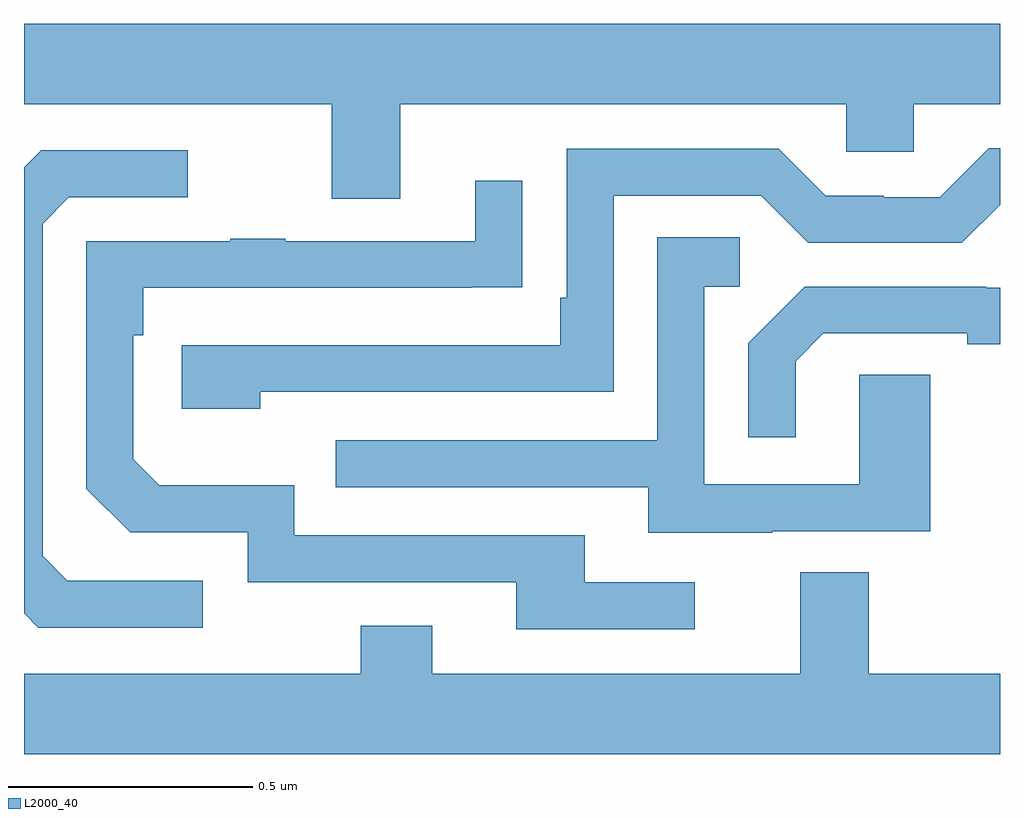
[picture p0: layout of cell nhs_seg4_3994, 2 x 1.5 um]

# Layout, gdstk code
import gdstk
lib = gdstk.Library(unit=1e-6, precision=1e-09)
def P(c, l, *ps):  # polygons
    for p in ps: c.add(gdstk.Polygon(p, *l))
L2000_40 = (2000, 40)

nhs_seg4_3994 = lib.new_cell('nhs_seg4_3994')
P(nhs_seg4_3994, L2000_40, [(160.771,783.5),(161.685,783.5),(161.685,783.402),(161.823,783.402),(161.823,783.5),(162,783.5),(162,783.664),(160,783.664),(160,783.5),(160.631,783.5),(160.631,783.306),(160.771,783.306)],
  [(160.484,782.91),(161.208,782.91),(161.208,783.312),(161.511,783.312),(161.607,783.216),(161.922,783.216),(162,783.294),(162,783.409),(161.977,783.409),(161.877,783.309),(161.762,783.309),(161.762,783.312),(161.643,783.312),(161.547,783.408),(161.112,783.408),(161.112,783.103),(161.099,783.103),(161.099,783.006),(160.323,783.006),(160.323,782.876),(160.484,782.876)],
  [(160.366,782.523),(160.089,782.523),(160.038,782.574),(160.038,783.255),(160.092,783.309),(160.336,783.309),(160.336,783.405),(160.035,783.405),(160,783.37),(160,782.456),(160.029,782.427),(160.366,782.427)],
  [(161.374,782.52),(161.149,782.52),(161.149,782.616),(160.554,782.616),(160.554,782.719),(160.277,782.719),(160.224,782.772),(160.224,783.026),(160.244,783.026),(160.244,783.123),(160.919,783.123),(160.919,783.124),(161.021,783.124),(161.021,783.343),(160.925,783.343),(160.925,783.219),(160.535,783.219),(160.535,783.224),(160.423,783.224),(160.423,783.219),(160.128,783.219),(160.128,782.712),(160.218,782.622),(160.458,782.622),(160.458,782.52),(161.009,782.52),(161.009,782.424),(161.374,782.424)],
  [(161.533,782.625),(161.857,782.625),(161.857,782.945),(161.712,782.945),(161.712,782.721),(161.394,782.721),(161.394,783.126),(161.467,783.126),(161.467,783.227),(161.298,783.227),(161.298,782.811),(160.639,782.811),(160.639,782.715),(161.279,782.715),(161.279,782.621),(161.533,782.621)],
  [(161.581,782.973),(161.638,783.03),(161.933,783.03),(161.933,783.008),(162,783.008),(162,783.123),(161.972,783.123),(161.972,783.126),(161.6,783.126),(161.484,783.01),(161.484,782.817),(161.581,782.817)],
  [(162,782.332),(161.731,782.332),(161.731,782.54),(161.591,782.54),(161.591,782.332),(160.837,782.332),(160.837,782.431),(160.69,782.431),(160.69,782.332),(160,782.332),(160,782.168),(162,782.168)])

lib.write_gds('nhs_seg4_3994.gds')
